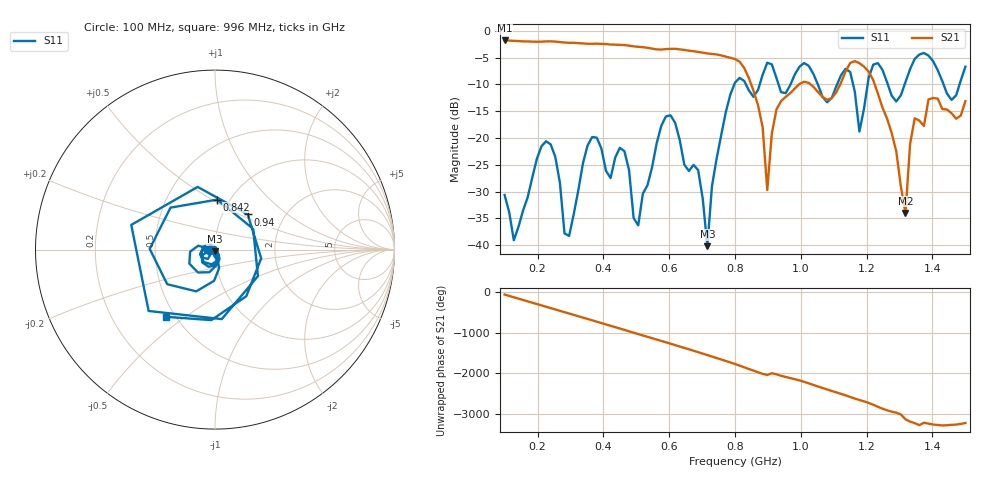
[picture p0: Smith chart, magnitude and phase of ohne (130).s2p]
! NanoVNA-App
! Date: 2025-09-25 14:21:49
! Start: 100MHz Stop: 1,5GHz Points: 101
! S-Parameter data: F S11 S21 S12 S22
# Hz S RI R 50
!  Frequency  S11_Real  S11_Imag  S21_Real  S21_Imag  S12_Real  S12_Imag  S22_Real  S22_Imag
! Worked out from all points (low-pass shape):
!   101 points, 100 MHz to 1.5 GHz, reference 50 ohm
!   highest |S21| = -1.79 dB at 100 MHz (marker M1); lowest = -34.0 dB at 1.318 GHz (marker M2)
!   |S21| within 3 dB of the highest: start of sweep to 770.9 MHz
!   lowest |S11| = -40.2 dB at 716 MHz (marker M3), VSWR 1.02, Z = 49.7 - j0.934 ohm
!   |S11| at or under -10 dB: start of sweep to 797.9 MHz; 833.2 MHz to 875.1 MHz (41.85 MHz wide, 4.9 % of centre); 1.052 GHz to 1.11 GHz (58.49 MHz wide, 5.41 % of centre) (the widest 3 of 7)
!   S12 and S22 are empty: the file has one direction only
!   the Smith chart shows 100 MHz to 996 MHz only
!   S11 on the Smith chart (normalised r, x): 100 MHz: 0.94, -0.01; 842 MHz: 0.88, +0.53; 940 MHz: 1.31, +0.55; 996 MHz: 0.45, -0.43
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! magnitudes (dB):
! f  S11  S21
! 100 MHz  -30.6  -1.8
! 128 MHz  -39.1  -1.9
! 226 MHz  -20.6  -2.0
! 296 MHz  -38.3  -2.2
! 338 MHz  -24.7  -2.3
! 464 MHz  -22.5  -2.7
! 506 MHz  -36.3  -3.0
! 576 MHz  -17.7  -3.5
! 688 MHz  -26.0  -3.9
! 716 MHz  -40.2  -4.2
! 800 MHz  -9.7  -5.3
! 842 MHz  -11.1  -8.8
! 898 MHz  -6.0  -29.7
! 940 MHz  -11.4  -13.1
! 996 MHz  -6.7  -9.9
! 1.038 GHz  -8.0  -10.4
! 1.178 GHz  -18.8  -6.0
! 1.22 GHz  -6.3  -9.2
! 1.276 GHz  -12.1  -19.1
! 1.318 GHz  -9.5  -34.0
! 1.346 GHz  -5.2  -16.3
! 1.5 GHz  -6.7  -13.1
